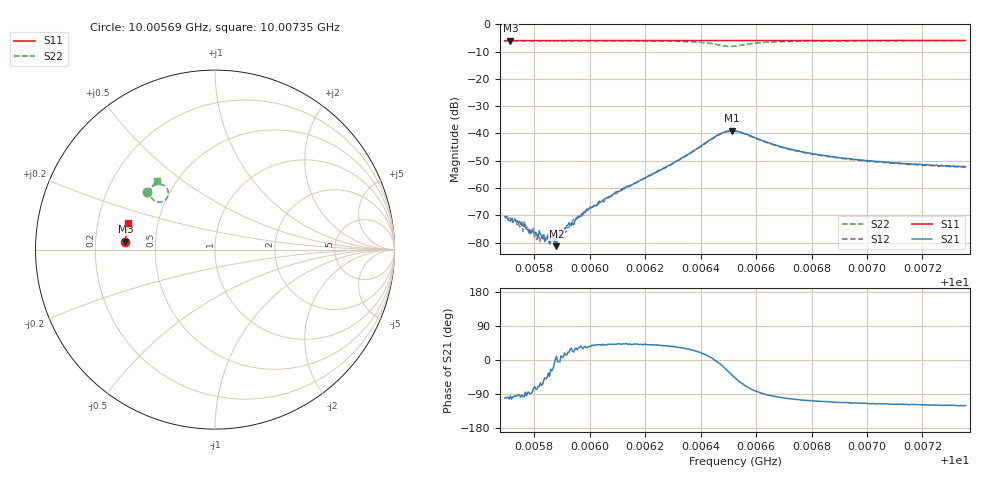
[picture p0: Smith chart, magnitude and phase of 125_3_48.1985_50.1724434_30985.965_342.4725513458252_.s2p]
#  HZ  S  RI  R  50.00
! Rohde & Schwarz Vector Network Analyzer
! Rohde-Schwarz,ZNB20-2Port,1311601062101988,3.16
! Created: UTC 3/20/2024, 11:41:41 AM
! freq[Hz]  re:S11  im:S11  re:S21  im:S21  re:S12  im:S12  re:S22  im:S22
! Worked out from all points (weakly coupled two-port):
!   401 points, 10.00569 GHz to 10.00735 GHz, reference 50 ohm
!   highest |S21| = -38.94 dB at 10.00651 GHz (marker M1); lowest = -81.3 dB at 10.00588 GHz (marker M2)
!   lowest |S11| = -6.0 dB at 10.00571 GHz (marker M3), VSWR 3.01, Z = 16.7 + j1.96 ohm
!   |S11| at or under -10 dB: nowhere
!   |S22| runs from -8.1 to -6.0 dB; largest |S21 - S12| = 0.00068
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1.0005693e10  -0.4992 0.0427  -5.44e-05 -0.000297  -3.47e-05 -0.000307  -0.3815 0.3191
1.0005714e10  -0.499 0.0441  -1.92e-05 -0.000248  -7.24e-06 -0.000271  -0.3806 0.3202
1.0005739e10  -0.4989 0.0457  -1.76e-05 -0.000252  -9e-06 -0.000208  -0.3793 0.3218
1.0005772e10  -0.4988 0.0478  -1.4e-05 -0.000176  3.21e-05 -0.000189  -0.3777 0.3238
1.0005793e10  -0.4988 0.0492  1.39e-05 -0.00016  5.49e-05 -0.000141  -0.3765 0.3251
1.0005818e10  -0.4986 0.0508  5.72e-05 -0.000156  4.56e-05 -0.000128  -0.3753 0.3268
1.0005839e10  -0.4985 0.0522  7.2e-05 -7.62e-05  7.53e-05 -7.25e-05  -0.3742 0.3281
1.0005864e10  -0.4984 0.0537  0.000113 -6.22e-05  0.000107 -4.64e-05  -0.3728 0.3296
1.000588e10  -0.4983 0.0548  8.52e-05 1.47e-05  0.000126 -1.69e-05  -0.3718 0.3308
1.0005918e10  -0.4982 0.0573  0.000196 4.69e-05  0.000158 5.05e-05  -0.3696 0.3332
1.0005947e10  -0.4981 0.0593  0.000222 0.000118  0.000242 0.000132  -0.3679 0.3352
1.0005972e10  -0.4979 0.0608  0.000261 0.000165  0.000263 0.000216  -0.3663 0.3367
1.0005997e10  -0.4977 0.0624  0.000332 0.000241  0.000294 0.000261  -0.3646 0.3386
1.0006092e10  -0.497 0.0687  0.000608 0.000543  0.000563 0.000565  -0.3575 0.3454
1.000625e10  -0.4957 0.0789  0.00164 0.00135  0.00156 0.00135  -0.3394 0.3582
1.0006466e10  -0.4929 0.0926  0.00954 -0.00136  0.00934 -0.000845  -0.2615 0.3252
1.0006512e10  -0.4924 0.095  0.00879 -0.00709  0.00893 -0.00645  -0.279 0.2751
1.0006524e10  -0.4923 0.0956  0.00756 -0.00817  0.00784 -0.00761  -0.2924 0.2674
1.0006615e10  -0.4922 0.1013  0.000478 -0.00764  0.000799 -0.00747  -0.3555 0.2927
1.0006802e10  -0.4903 0.1135  -0.00126 -0.00409  -0.00111 -0.00403  -0.3555 0.3395
1.0007081e10  -0.4864 0.1311  -0.0013 -0.00263  -0.00118 -0.00265  -0.3393 0.3653
1.0007355e10  -0.482 0.1484  -0.00125 -0.00213  -0.00112 -0.00211  -0.3243 0.3819
